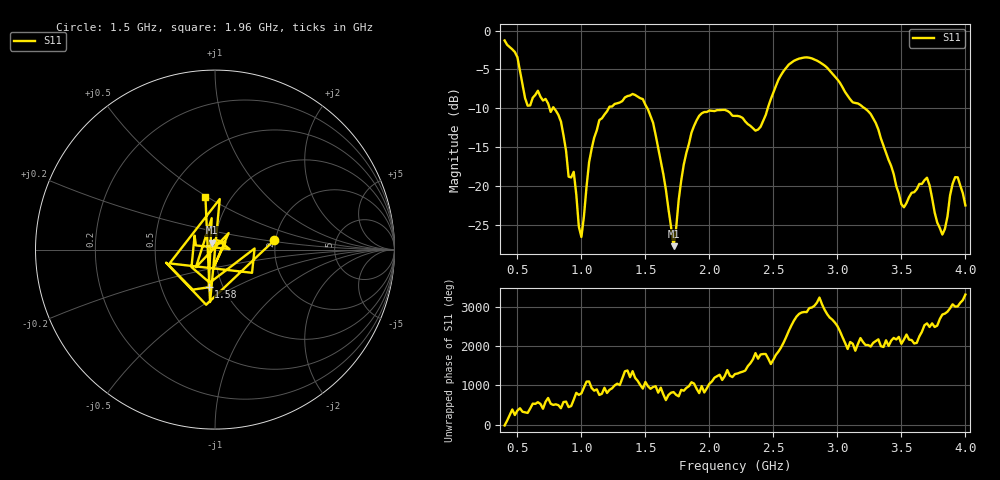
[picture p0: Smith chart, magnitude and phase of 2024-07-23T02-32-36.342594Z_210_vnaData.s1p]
!Created with skrf (http://scikit-rf.org).
# Hz S RI R 50.0
!freq ReS11 ImS11
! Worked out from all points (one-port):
!   181 points, 400 MHz to 4 GHz, reference 50 ohm
!   lowest |S11| = -27.7 dB at 1.72 GHz (marker M1), VSWR 1.09, Z = 48.4 + j3.72 ohm
!   |S11| at or under -10 dB: 786.6 MHz to 1.213 GHz (426.2 MHz wide, 42.6 % of centre); 1.515 GHz to 2.456 GHz (940.4 MHz wide, 47.4 % of centre); 3.213 GHz to end of sweep (the widest 3 of 4)
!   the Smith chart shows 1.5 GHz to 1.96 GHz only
!   S11 on the Smith chart (normalised r, x): 1.5 GHz: 1.96, +0.22; 1.58 GHz: 0.86, -0.38; 1.96 GHz: 0.76, +0.49
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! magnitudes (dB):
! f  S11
! 400 MHz  -1.3
! 500 MHz  -3.4
! 580 MHz  -9.7
! 660 MHz  -7.7
! 860 MHz  -13.5
! 900 MHz  -18.8
! 940 MHz  -18.2
! 1 GHz  -26.6
! 1.1 GHz  -13.8
! 1.3 GHz  -9.3
! 1.5 GHz  -9.6
! 1.58 GHz  -13.4
! 1.72 GHz  -27.7
! 1.76 GHz  -21.8
! 1.86 GHz  -13.1
! 1.96 GHz  -10.5
! 2.2 GHz  -11.0
! 2.38 GHz  -12.7
! 2.66 GHz  -3.9
! 2.88 GHz  -4.3
! 3.1 GHz  -8.8
! 3.3 GHz  -11.9
! 3.5 GHz  -22.3
! 3.56 GHz  -21.4
! 3.7 GHz  -18.9
! 3.82 GHz  -26.2
! 3.92 GHz  -18.9
! 4 GHz  -22.5
